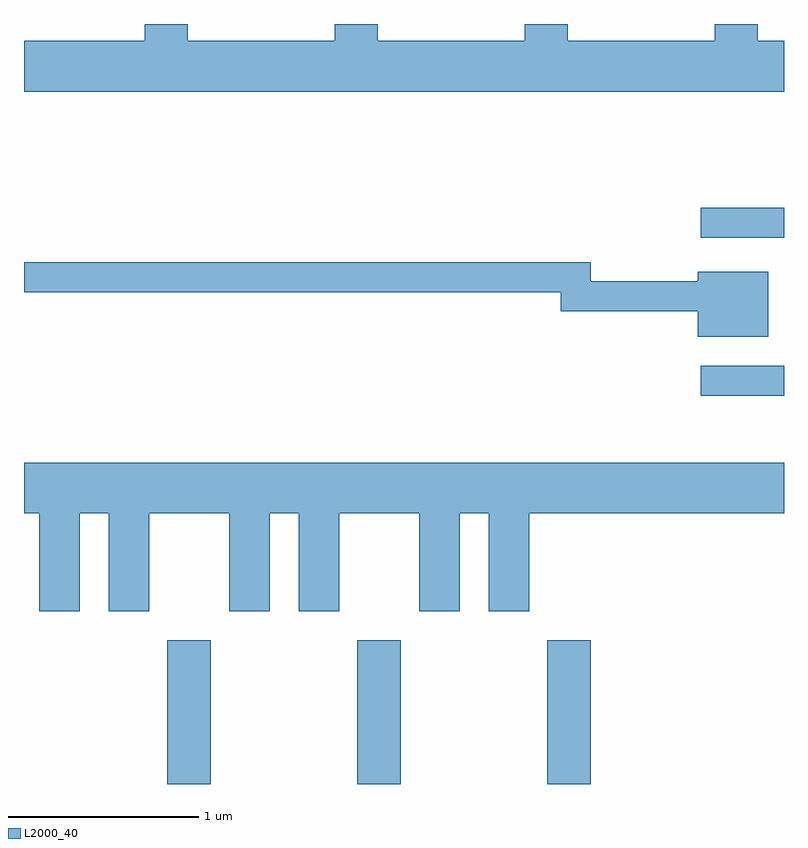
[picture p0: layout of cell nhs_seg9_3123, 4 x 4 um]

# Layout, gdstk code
import gdstk
lib = gdstk.Library(unit=1e-6, precision=1e-09)
def R(c, l, rs):  # rectangles x0, y0, x1, y1
    for r in rs: c.add(gdstk.rectangle(r[:2], r[2:], *l))
def A(c, l, x, y, w, h, nx, ny, dx, dy):  # array of equal rectangles
    R(c, l, [(x+i*dx, y+j*dy, x+i*dx+w, y+j*dy+h) for i in range(nx) for j in range(ny)])
def P(c, l, *ps):  # polygons
    for p in ps: c.add(gdstk.Polygon(p, *l))
L2000_40 = (2000, 40)

nhs_seg9_3123 = lib.new_cell('nhs_seg9_3123')
A(nhs_seg9_3123, L2000_40, 278.366, 1950.432, 0.228, 0.757, 3, 1, 1, 0)
R(nhs_seg9_3123, L2000_40, [(281.173,1952.476,281.611,1952.634), (281.173,1953.306,281.611,1953.464)])
P(nhs_seg9_3123, L2000_40, [(281.611,1954.344),(281.474,1954.344),(281.474,1954.432),(281.246,1954.432),(281.246,1954.344),(280.474,1954.344),(280.474,1954.432),(280.246,1954.432),(280.246,1954.344),(279.474,1954.344),(279.474,1954.432),(279.246,1954.432),(279.246,1954.344),(278.474,1954.344),(278.474,1954.432),(278.246,1954.432),(278.246,1954.344),(277.611,1954.344),(277.611,1954.076),(281.611,1954.076)],
  [(281.529,1953.129),(281.156,1953.129),(281.156,1953.079),(280.594,1953.079),(280.594,1953.179),(277.611,1953.179),(277.611,1953.021),(280.436,1953.021),(280.436,1952.921),(281.156,1952.921),(281.156,1952.786),(281.529,1952.786)],
  [(277.904,1951.856),(278.056,1951.856),(278.056,1951.341),(278.269,1951.341),(278.269,1951.856),(278.691,1951.856),(278.691,1951.341),(278.904,1951.341),(278.904,1951.856),(279.056,1951.856),(279.056,1951.341),(279.269,1951.341),(279.269,1951.856),(279.691,1951.856),(279.691,1951.341),(279.904,1951.341),(279.904,1951.856),(280.056,1951.856),(280.056,1951.341),(280.269,1951.341),(280.269,1951.856),(281.611,1951.856),(281.611,1952.124),(277.611,1952.124),(277.611,1951.856),(277.691,1951.856),(277.691,1951.341),(277.904,1951.341)])

lib.write_gds('nhs_seg9_3123.gds')
